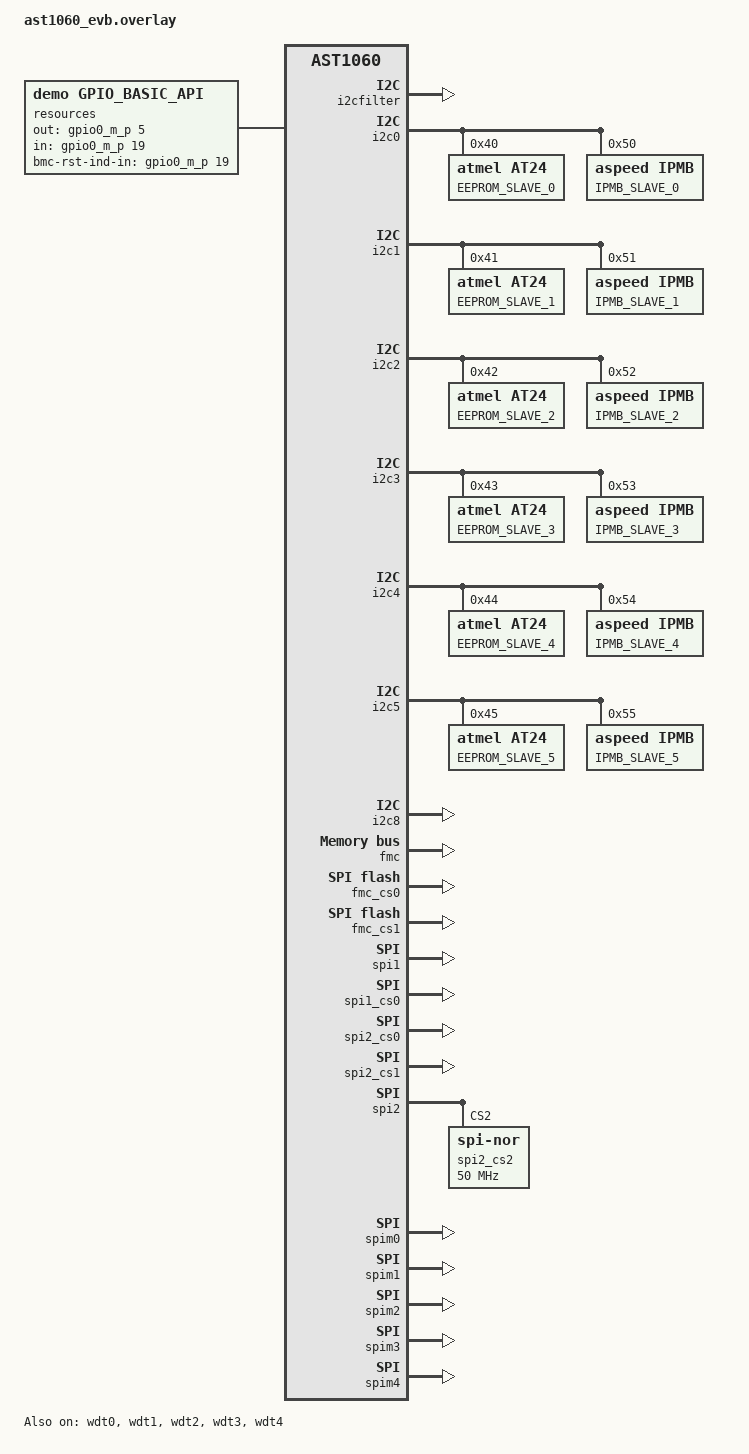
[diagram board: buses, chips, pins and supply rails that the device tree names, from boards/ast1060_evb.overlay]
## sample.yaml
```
sample:
  name: Aspeed full function demo sample
tests:
  sample.board.ast1060_evb:
    platform_allow: ast1060_evb
```

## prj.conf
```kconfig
CONFIG_GPIO=y
CONFIG_SPI=y
CONFIG_I2C=y
CONFIG_THREAD_RUNTIME_STATS=y
CONFIG_GPIO_SHELL=y
CONFIG_I2C_SLAVE=y
CONFIG_I2C_EEPROM_SLAVE=y
CONFIG_FLASH=y
CONFIG_SPI_NOR_MULTI_DEV=y
CONFIG_FLASH_SHELL=y
CONFIG_HEAP_MEM_POOL_SIZE=16384
CONFIG_MINIMAL_LIBC_MALLOC_ARENA_SIZE=147456
CONFIG_REBOOT=y
CONFIG_POSIX_CLOCK=y
CONFIG_STACK_SENTINEL=y
CONFIG_LOG=y
CONFIG_LOG_BACKEND_UART=y
CONFIG_SHELL=y
CONFIG_SHELL_BACKEND_SERIAL_INIT_PRIORITY=99
CONFIG_PFR_FLOW_CTRL_AST1060=y
CONFIG_CRYPTO=y
CONFIG_CRYPTO_ASPEED=y
CONFIG_RSA_ASPEED=y
CONFIG_MAIN_STACK_SIZE=16384
CONFIG_SMF=y
CONFIG_SMF_ANCESTOR_SUPPORT=y
CONFIG_FLASH_MAP=y
CONFIG_ECDSA_ASPEED=y
CONFIG_MBEDTLS=y
CONFIG_MBEDTLS_BUILTIN=y
CONFIG_MBEDTLS_KEY_EXCHANGE_ECDHE_ECDSA_ENABLED=y
CONFIG_MBEDTLS_ECP_DP_SECP384R1_ENABLED=y
CONFIG_MBEDTLS_ECP_DP_SECP256R1_ENABLED=y
CONFIG_MBEDTLS_ENABLE_HEAP=y
CONFIG_MBEDTLS_HEAP_SIZE=16384
CONFIG_SHELL_STACK_SIZE=4096
CONFIG_AST1060=y
CONFIG_TEKTAGONOE=y
CONFIG_CERBERUS=y
CONFIG_INTEL_PFR_SUPPORT=y
CONFIG_CERBERUS_PFR_SUPPORT=n
CONFIG_MBEDTLS_ECP_NIST_OPTIM=y
```

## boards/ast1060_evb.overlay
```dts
/ {
	resources {
		compatible = "demo,gpio_basic_api";
		out-gpios = <&gpio0_m_p 5 0>;
		in-gpios = <&gpio0_m_p 19 0>;
		bmc-rst-ind-in-gpios = <&gpio0_m_p 19 0>;
	};
};

&i2cfilter {
	pinctrl-0 = <&pinctrl_smbflt_default>;
	status = "okay";
};

&i2c0 {
	status = "okay";
	pinctrl-0 = <&pinctrl_i2c0_default>;

	eeprom0: eeprom0@40 {
		compatible = "atmel,at24";
		reg = <0x40>;
		label = "EEPROM_SLAVE_0";
		size = <256>;
		pagesize = <16>;
		address-width = <8>;
		timeout = <5>;
#ifdef CONFIG_I2C_EEPROM_SLAVE
		status = "okay";
#endif
	};

	ipmb0: ipmb0@50 {
		compatible = "aspeed,ipmb";
		reg = <0x50>;
		label = "IPMB_SLAVE_0";
		size = <5>;
#ifdef CONFIG_I2C_IPMB_SLAVE
		status = "okay";
#endif
	};

};

&i2c1 {
	pinctrl-0 = <&pinctrl_i2c1_default>;
	status = "okay";

	eeprom1: eeprom1@41 {
		compatible = "atmel,at24";
		reg = <0x41>;
		label = "EEPROM_SLAVE_1";
		size = <256>;
		pagesize = <16>;
		address-width = <8>;
		timeout = <5>;
#ifdef CONFIG_I2C_EEPROM_SLAVE
		status = "okay";
#endif
	};

	ipmb1: ipmb1@51 {
		compatible = "aspeed,ipmb";
		reg = <0x51>;
		label = "IPMB_SLAVE_1";
		size = <5>;
#ifdef CONFIG_I2C_IPMB_SLAVE
		status = "okay";
#endif
	};

};

&i2c2 {
	pinctrl-0 = <&pinctrl_i2c2_default>;
	status = "okay";

	eeprom2: eeprom2@42 {
		compatible = "atmel,at24";
		reg = <0x42>;
		label = "EEPROM_SLAVE_2";
		size = <256>;
		pagesize = <16>;
		address-width = <8>;
		timeout = <5>;
#ifdef CONFIG_I2C_EEPROM_SLAVE
		status = "okay";
#endif
	};

	ipmb2: ipmb2@52 {
		compatible = "aspeed,ipmb";
		reg = <0x52>;
		label = "IPMB_SLAVE_2";
		size = <5>;
#ifdef CONFIG_I2C_IPMB_SLAVE
		status = "okay";
#endif
	};

};

&i2c3 {
	pinctrl-0 = <&pinctrl_i2c3_default>;
	status = "okay";

	eeprom3: eeprom3@43 {
		compatible = "atmel,at24";
		reg = <0x43>;
		label = "EEPROM_SLAVE_3";
		size = <256>;
		pagesize = <16>;
		address-width = <8>;
		timeout = <5>;
#ifdef CONFIG_I2C_EEPROM_SLAVE
		status = "okay";
#endif
	};

	ipmb3: ipmb3@53 {
		compatible = "aspeed,ipmb";
		reg = <0x53>;
		label = "IPMB_SLAVE_3";
		size = <5>;
#ifdef CONFIG_I2C_IPMB_SLAVE
		status = "okay";
#endif
	};

};

&i2c4 {
	pinctrl-0 = <&pinctrl_i2c4_default>;
	status = "okay";

	eeprom4: eeprom4@44 {
		compatible = "atmel,at24";
		reg = <0x44>;
		label = "EEPROM_SLAVE_4";
		size = <256>;
		pagesize = <16>;
		address-width = <8>;
		timeout = <5>;
#ifdef CONFIG_I2C_EEPROM_SLAVE
		status = "okay";
#endif
	};

	ipmb4: ipmb4@54 {
		compatible = "aspeed,ipmb";
		reg = <0x54>;
		label = "IPMB_SLAVE_4";
		size = <5>;
#ifdef CONFIG_I2C_IPMB_SLAVE
		status = "okay";
#endif
	};

};

&i2c5 {
	pinctrl-0 = <&pinctrl_i2c5_default>;
	status = "okay";

	eeprom5: eeprom5@45 {
		compatible = "atmel,at24";
		reg = <0x45>;
		label = "EEPROM_SLAVE_5";
		size = <256>;
		pagesize = <16>;
		address-width = <8>;
		timeout = <5>;
#ifdef CONFIG_I2C_EEPROM_SLAVE
		status = "okay";
#endif
	};

	ipmb5: ipmb5@55 {
		compatible = "aspeed,ipmb";
		reg = <0x55>;
		label = "IPMB_SLAVE_5";
		size = <5>;
#ifdef CONFIG_I2C_IPMB_SLAVE
		status = "okay";
#endif
	};

};

// for i2c filter testing
&i2c8 {
	pinctrl-0 = <&pinctrl_i2c8_default>;
	status = "okay";
 };

&wdt0 {
	status = "okay";
};

&wdt1 {
	status = "okay";
};

&wdt2 {
	status = "okay";
};

&wdt3 {
	status = "okay";
};

&wdt4 {
	status = "okay";
};

&fmc {
	status = "okay";
};

&fmc_cs0 {
	status = "okay";
	spi-max-buswidth = <4>;
	spi-max-frequency = <50000000>;
	partitions {
		compatible = "fixed-partitions";
		#address-cells = <1>;
		#size-cells = <1>;
		active_partition: partition@0 {
			label = "active";
			reg = <0x0 0x60000>;
		};

		recovery_partition: partition@1 {
			label = "recovery";
			reg = <0x60000 0x60000>;
		};

		state_partition: partition@2 {
			label = "state";
			reg = <0xC0000 0x10000>;
		};

		intel_state_partition: partition@3 {
			label = "intel_state";
			reg = <0xD0000 0x10000>;
		};

		key_partition: partition@4 {
			label = "key";
			reg = <0xE0000 0x10000>;
		};

		log_partition: partition@5 {
			label = "log";
			reg = <0xF0000 0x20000>;
		};
	};
};

&fmc_cs1 {
	status = "okay";
	spi-max-buswidth = <4>;
	spi-max-frequency = <50000000>;
};

&spi1 {
	num-cs = <1>;
	status = "okay";
};

&spi1_cs0 {
	spi-max-buswidth = <4>;
	spi-max-frequency = <50000000>;
	status = "okay";
};

/* Use AST1060 SPI2 as the internal SPI master to
 * to access the SPI flashes connected to SPI monitors
 * Here,
 * "SPI2_CS0" used to access flash connected to SPI_Monitor_2,
 * "SPI2_CS1" is used to access flash connected to SPI_Monitor_3,
 * "SPI2_CS2" is used to access flash connected to SPI_Monitor_4,
 */

&spi2_cs0 {
	spi-max-buswidth = <4>;
	spi-max-frequency = <50000000>;
	reg = <0>;
	status = "okay";
};

&spi2_cs1 {
	spi-max-buswidth = <4>;
	spi-max-frequency = <50000000>;
	reg = <1>;
	status = "okay";
};

&spi2 {
	internal-mux-master = <2>;
	spi-monitor-output-base = <2>;
	spi-monitor-common-ctrl = <&spim0>;
	pinctrl-0 = <>;

	num-cs = <3>;
	status = "okay";

	spi2_cs2: flash@2 {
		compatible = "jedec,spi-nor";
		reg = <2>;
		spi-max-buswidth = <4>;
		spi-max-frequency = <50000000>;
		label = "spi2_cs2";
		status = "okay";
	};
};

&spim0 {
	status = "okay";
};

&spim1 {
	allow-cmds = [03 13 0b 0c 6b 6c 01 05 35 06 04 20 21 9f 5a b7 e9 32 34 d8 dc 02 12 15 31 3b 3c];
	log-ram-size = <0x200>;
	pinctrl-0 = <&pinctrl_spim1_cs &pinctrl_spim1_in_default &pinctrl_spim1_qspi_in_default
				&pinctrl_spim1_rst_out &pinctrl_spim1_muxsel>;

	flash-device = <&spi1_cs0>;
	status = "okay";
	write-forbidden-regions = <
		0x00000000 0x08000000
	>;
};

&spim2 {
	allow-cmds = [03 13 0b 0c 6b 6c 01 05 35 06 04 20 21 9f 5a b7 e9 32 34 d8 dc 02 12 15 31 3b 3c];
	log-ram-size = <0x200>;
	pinctrl-0 = <&pinctrl_spim2_cs &pinctrl_spim2_in_default &pinctrl_spim2_out_default
				&pinctrl_spim2_qspi_in_default &pinctrl_spim2_qspi_out_default
				&pinctrl_spim2_rst_out>;

	flash-device = <&spi2_cs0>;
	status = "okay";
	write-forbidden-regions = <
		0x00000000 0x08000000
	>;
};

&spim3 {
	allow-cmds = [03 13 0b 0c 6b 6c 01 05 35 06 04 20 21 9f 5a b7 e9 32 34 d8 dc 02 12 15 31 3b 3c];
	log-ram-size = <0x200>;
	pinctrl-0 = <&pinctrl_spim3_cs &pinctrl_spim3_in_default &pinctrl_spim3_out_default
				&pinctrl_spim3_qspi_in_default &pinctrl_spim3_qspi_out_default
				&pinctrl_spim3_rst_out>;

	flash-device = <&spi2_cs1>;
	status = "okay";
};

&spim4 {
	allow-cmds = [03 13 0b 0c 6b 6c 01 05 35 06 04 20 21 9f 5a b7 e9 32 34 d8 dc 02 12 15 31 3b 3c];
	log-ram-size = <0x200>;
	/* for demo purpose */
	/*
	read-forbidden-regions = <
		0x00000000 0x10000
		0x00274000 0x4000
		0x01E00000 0x80000
	>;

	write-forbidden-regions = <
		0x00000000 0x10000
		0x013FC000 0x28000
		0x0FFF8000 0x8000
	>;
	*/

	pinctrl-0 = <&pinctrl_spim4_cs &pinctrl_spim4_in_default &pinctrl_spim4_out_default
				&pinctrl_spim4_qspi_in_default &pinctrl_spim4_qspi_out_default
				&pinctrl_spim4_rst_out>;

	flash-device = <&spi2_cs2>;
	status = "okay";
};
```

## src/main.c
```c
//***********************************************************************//
//*                                                                     *//
//*                      Copyright © 2022 AMI                           *//
//*                                                                     *//
//*        All rights reserved. Subject to AMI licensing agreement.     *//
//*                                                                     *//
//***********************************************************************//

#include <zephyr.h>
#include "state_machine.h"
#include "common_smc.h"
#include <Common.h>
#include "include/SmbusMailBoxCom.h"
#include "Smbus_mailbox/Smbus_mailbox.h"
#include "pfr/pfr_common.h"
#include <CommonLogging/CommonLogging.h>
#include <I2c/I2c.h>

#ifdef CONFIG_INTEL_PFR_SUPPORT
#include "intel_2.0/intel_pfr_verification.h"
#include "intel_2.0/intel_pfr_provision.h"
#include "intel_2.0/intel_pfr_definitions.h"
#include "intel_2.0/intel_pfr_pfm_manifest.h"
#endif
#ifdef CONFIG_CERBERUS_PFR_SUPPORT
#include "cerberus/cerberus_pfr_verification.h"
#include "cerberus/cerberus_pfr_provision.h"
#include "cerberus/cerberus_pfr_definitions.h"
#include "cerberus/cerberus_pfr_pfm_manifest.h"
#endif

#define DEBUG_HALT() {				\
	volatile int halt = 1;			\
	while (halt)				\
	{ 					\
		__asm__ volatile("nop");	\
	}					\
}

void main(void)
{
	int status = 0;
	
	printk("\r\n *** Tektagon OE version 1.0 ***\r\n");
	// DEBUG_HALT();
	status = initializeEngines();
	status = initializeManifestProcessor();
	DebugInit();//State Machine log saving

	BMCBootHold();
	PCHBootHold();

	#if SMBUS_MAILBOX_SUPPORT
    	InitializeSmbusMailbox();
    	SetPlatformState(ENTER_T_MINUS_1);
	#endif

	StartHrotStateMachine();
}
```
